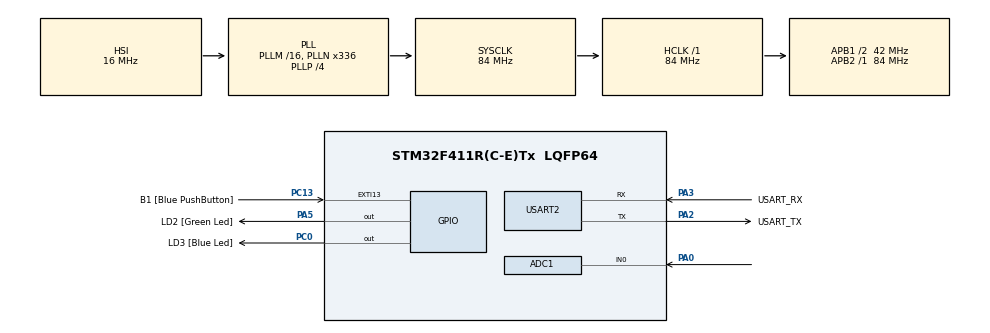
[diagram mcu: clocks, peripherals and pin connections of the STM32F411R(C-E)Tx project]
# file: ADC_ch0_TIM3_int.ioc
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ADC1.Channel-0\#ChannelRegularConversion=ADC_CHANNEL_0
ADC1.ClockPrescaler=ADC_CLOCK_SYNC_PCLK_DIV4
ADC1.ContinuousConvMode=DISABLE
ADC1.DMAContinuousRequests=DISABLE
ADC1.DataAlign=ADC_DATAALIGN_RIGHT
ADC1.DiscontinuousConvMode=DISABLE
ADC1.EOCSelection=ADC_EOC_SINGLE_CONV
ADC1.EnableAnalogWatchDog=false
ADC1.ExternalTrigConv=ADC_EXTERNALTRIGCONV_T3_TRGO
ADC1.ExternalTrigConvEdge=ADC_EXTERNALTRIGCONVEDGE_RISING
ADC1.InjNumberOfConversion=0
ADC1.NbrOfConversion=1
ADC1.NbrOfConversionFlag=1
ADC1.Rank-0\#ChannelRegularConversion=1
ADC1.Resolution=ADC_RESOLUTION_12B
ADC1.SamplingTime-0\#ChannelRegularConversion=ADC_SAMPLETIME_3CYCLES
ADC1.ScanConvMode=DISABLE
ADC1.master=1
Mcu.Family=STM32F4
Mcu.Name=STM32F411R(C-E)Tx
Mcu.Package=LQFP64
NVIC.ADC_IRQn=true\:0\:0\:false\:false\:true
NVIC.PriorityGroup=NVIC_PRIORITYGROUP_0
NVIC.TIM1_UP_TIM10_IRQn=true\:0\:0\:false\:false\:true
PA0-WKUP.Signal=ADCx_IN0
PA13.GPIO_Label=TMS
PA13.Signal=SYS_JTMS-SWDIO
PA14.GPIO_Label=TCK
PA14.Signal=SYS_JTCK-SWCLK
PA2.GPIO_Label=USART_TX
PA2.Mode=Asynchronous
PA2.Signal=USART2_TX
PA3.GPIO_Label=USART_RX
PA3.Mode=Asynchronous
PA3.Signal=USART2_RX
PA5.GPIO_Label=LD2 [Green Led]
PA5.Signal=GPIO_Output
PB3.GPIO_Label=SWO
PB3.Signal=SYS_JTDO-SWO
PC0.GPIO_Label=LD3 [Blue Led]
PC0.Signal=GPIO_Output
PC13-ANTI_TAMP.GPIO_Label=B1 [Blue PushButton]
PC13-ANTI_TAMP.GPIO_ModeDefaultEXTI=GPIO_MODE_EVT_FALLING
PC13-ANTI_TAMP.GPIO_PuPd=GPIO_PULLDOWN
PC13-ANTI_TAMP.Signal=GPXTI13
PC14-OSC32_IN.Signal=RCC_OSC32_IN
PC15-OSC32_OUT.Signal=RCC_OSC32_OUT
PH0\ -\ OSC_IN.Signal=RCC_OSC_IN
PH1\ -\ OSC_OUT.Signal=RCC_OSC_OUT
ProjectManager.HeapSize=0x200
ProjectManager.StackSize=0x400
ProjectManager.TargetToolchain=SW4STM32
RCC.48MHZClocksFreq_Value=84000000
RCC.AHBFreq_Value=84000000
RCC.APB1CLKDivider=RCC_HCLK_DIV2
RCC.APB1Freq_Value=42000000
RCC.APB1TimFreq_Value=84000000
RCC.APB2Freq_Value=84000000
RCC.APB2TimFreq_Value=84000000
RCC.CortexFreq_Value=84000000
RCC.FLatency-AdvancedSettings=FLASH_LATENCY_2
RCC.HCLKFreq_Value=84000000
RCC.HSE_VALUE=8000000
RCC.HSI_VALUE=16000000
RCC.LSE_VALUE=32768
RCC.PLLN=336
RCC.PLLP=RCC_PLLP_DIV4
RCC.SYSCLKFreq_VALUE=84000000
RCC.SYSCLKSource=RCC_SYSCLKSOURCE_PLLCLK
RCC.VCOOutputFreq_Value=336000000
SH.ADCx_IN0.0=ADC1_IN0,IN0
TIM10.Period=19
TIM10.Prescaler=8399
VP_TIM10_VS_ClockSourceINT.Mode=Enable_Timer
VP_TIM3_VS_ClockSourceINT.Mode=Internal
board=NUCLEO-F411RE

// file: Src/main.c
/*
  ******************************************************************************
  * File Name          : main.c
  * Description        : Main program body
  ******************************************************************************
  *
  * COPYRIGHT(c) 2017 STMicroelectronics
  *
  * Redistribution and use in source and binary forms, with or without modification,
  * are permitted provided that the following conditions are met:
  *   1. Redistributions of source code must retain the above copyright notice,
  *      this list of conditions and the following disclaimer.
  *   2. Redistributions in binary form must reproduce the above copyright notice,
  *      this list of conditions and the following disclaimer in the documentation
  *      and/or other materials provided with the distribution.
  *   3. Neither the name of STMicroelectronics nor the names of its contributors
  *      may be used to endorse or promote products derived from this software
  *      without specific prior written permission.
  *
  * THIS SOFTWARE IS PROVIDED BY THE COPYRIGHT HOLDERS AND CONTRIBUTORS "AS IS"
  * AND ANY EXPRESS OR IMPLIED WARRANTIES, INCLUDING, BUT NOT LIMITED TO, THE
  * IMPLIED WARRANTIES OF MERCHANTABILITY AND FITNESS FOR A PARTICULAR PURPOSE ARE
  * DISCLAIMED. IN NO EVENT SHALL THE COPYRIGHT HOLDER OR CONTRIBUTORS BE LIABLE
  * FOR ANY DIRECT, INDIRECT, INCIDENTAL, SPECIAL, EXEMPLARY, OR CONSEQUENTIAL
  * DAMAGES (INCLUDING, BUT NOT LIMITED TO, PROCUREMENT OF SUBSTITUTE GOODS OR
  * SERVICES; LOSS OF USE, DATA, OR PROFITS; OR BUSINESS INTERRUPTION) HOWEVER
  * CAUSED AND ON ANY THEORY OF LIABILITY, WHETHER IN CONTRACT, STRICT LIABILITY,
  * OR TORT (INCLUDING NEGLIGENCE OR OTHERWISE) ARISING IN ANY WAY OUT OF THE USE
  * OF THIS SOFTWARE, EVEN IF ADVISED OF THE POSSIBILITY OF SUCH DAMAGE.
  *
  ******************************************************************************
  */

#include "main.h"
#include "stm32f4xx_hal.h"
#include "adc.h"
#include "tim.h"
#include "usart.h"
#include "gpio.h"

/* USER CODE BEGIN Includes */

/**
 * ADC é configurado para ser disparado pelo evento de TIM3
 * TIM3 é configurado para gerar um evento a cada update
 * Interrupcao de TIM3 realiza o debounce do botao
 * TIM10 é configurado para gerar interrupcao periodica
 * Interrupcao aciona o led e dispara envio do valor convertido pela serial

 * @file main.c
 * @author Marcos Zuccolotto
 * @date april, 2017
 * @brief ADC disparado pelo TIM3 e debouce de botao
  */

// Comentarios para doxygen e Graphviz
// O comando abaixo gera o gráfico na pagina principal do documento
// É necessario usar a ferramenta Grapviz para interpretar a linguagem DOT
/*! \mainpage
 ADC disparado pelo evento de update do TIM3 \n
 Debounce de botao usando interrupcao periodica\n
 Configuracao de hardware utilizada :
  \dot
  digraph hardconf  {
      node [shape=box, fontname=Helvetica, fontsize=11];
      a [ label="TIM3" ];
      b [ label="ADC1" ];
      a -> b [label="UE", fontname=Helvetica, fontsize=10];
       {rank=same; a b}
  }
  \enddot

 */

//#define MODO_TESTE 1

//! Tempo de espera pela conversao ad
#define ADC_TIMEOUT 100
//! tempo de espera da serial
#define SERIAL_TIMEOUT 100
//! Tamanho do buffer de transmissao serial
#define MSG_LENGHT 100

// Debouce botao
//! Limite superior para detecção botao pressionado
#define BT_THRESH 10
//! Limite inferior para detecção botao pressionado
#define BT_THRESL 5
//! Valor maximo da variavel de debouce
#define BT_MAX 15
//! Valor minimo da variavel de debouce
#define BT_MIN 0

/* USER CODE END Includes */

/* USER CODE BEGIN PV */
/* Private variables ---------------------------------------------------------*/
//! Buffer transmissao serial
int8_t msg[MSG_LENGHT];
//! Valor de conversao AD
int32_t adcvalue;

//! Flag de conversao completa
volatile uint8_t adDone=0;
//! Hora de transmitir
volatile uint8_t serialGo=0;
//! Hora de piscar
volatile uint8_t pisca=0;

// Debounce botao

//! variavel de debounce do botao1
static int8_t dbt1=BT_MIN;
//! estado botao 1
static uint8_t bt1,
//! valor anterior do botao 1
		bt1old,
//! borda botao 1
		bt1up;
//! auxiliar valor botao entrada
GPIO_PinState btaux;

/* USER CODE END PV */

void SystemClock_Config(void);
void Error_Handler(void);

/* USER CODE BEGIN PFP */
/* Private function prototypes -----------------------------------------------*/

/* USER CODE END PFP */

int main(void)
{

  /* MCU Configuration----------------------------------------------------------*/

  /* Reset of all peripherals, Initializes the Flash interface and the Systick. */
  HAL_Init();

  /* Configure the system clock */
  SystemClock_Config();

  /* Initialize all configured peripherals */
  MX_GPIO_Init();
  MX_ADC1_Init();
  MX_TIM3_Init();
  MX_USART2_UART_Init();
  MX_TIM10_Init();

  /* USER CODE BEGIN 2 */
  // Inicializa variaveis globais
   dbt1 = BT_MIN;
  bt1=bt1old=bt1up=0;
// Dispara perifericos
  HAL_TIM_Base_Start_IT(&htim3);
  HAL_TIM_Base_Start_IT(&htim10);
  HAL_ADC_Start_IT(&hadc1);

// envia cabeçalho tela
   sprintf(msg,"\aFundacao Liberato - EleTROnica\r\nprof. Marcos Zuccolotto\r\nADC com disparo pelo TIM3 \n\r");
   HAL_UART_Transmit(&huart2, msg, strlen(msg),SERIAL_TIMEOUT);

  /* USER CODE END 2 */

  /* Infinite loop */
  while (1)
  {

  /* USER CODE BEGIN 3 */
	  // Se é hora, envia mensagem pela serial
	  if (serialGo)
		  	  {
		  		  serialGo=0;
		  		   sprintf(msg,"Valor ADC : %04ld \r",adcvalue);
		  		   HAL_UART_Transmit(&huart2, msg, strlen(msg),SERIAL_TIMEOUT);
			  }
	  // Se botao foi pressionado muda estado controle pisca
	  if (bt1up)
	  {
		  bt1up=0;
		  pisca=!pisca;
	  }
// Esta parte foi feita em aula, transmite valor convertido logo apos conversao
//	  if (adDone==1)
//	  {
//		  adDone=0;
//		   sprintf(msg,"Valor ADC : %d \n\r",adcvalue);
//		   HAL_UART_Transmit(&huart2, msg, strlen(msg),SERIAL_TIMEOUT);
//	  }
  }
  /* USER CODE END 3 */

}

/** System Clock Configuration
*/
void SystemClock_Config(void)
{

  RCC_OscInitTypeDef RCC_OscInitStruct;
  RCC_ClkInitTypeDef RCC_ClkInitStruct;

    /**Configure the main internal regulator output voltage
    */
  __HAL_RCC_PWR_CLK_ENABLE();

  __HAL_PWR_VOLTAGESCALING_CONFIG(PWR_REGULATOR_VOLTAGE_SCALE1);

    /**Initializes the CPU, AHB and APB busses clocks
    */
  RCC_OscInitStruct.OscillatorType = RCC_OSCILLATORTYPE_HSI;
  RCC_OscInitStruct.HSIState = RCC_HSI_ON;
  RCC_OscInitStruct.HSICalibrationValue = 16;
  RCC_OscInitStruct.PLL.PLLState = RCC_PLL_ON;
  RCC_OscInitStruct.PLL.PLLSource = RCC_PLLSOURCE_HSI;
  RCC_OscInitStruct.PLL.PLLM = 16;
  RCC_OscInitStruct.PLL.PLLN = 336;
  RCC_OscInitStruct.PLL.PLLP = RCC_PLLP_DIV4;
  RCC_OscInitStruct.PLL.PLLQ = 4;
  if (HAL_RCC_OscConfig(&RCC_OscInitStruct) != HAL_OK)
  {
    Error_Handler();
  }

    /**Initializes the CPU, AHB and APB busses clocks
    */
  RCC_ClkInitStruct.ClockType = RCC_CLOCKTYPE_HCLK|RCC_CLOCKTYPE_SYSCLK
                              |RCC_CLOCKTYPE_PCLK1|RCC_CLOCKTYPE_PCLK2;
  RCC_ClkInitStruct.SYSCLKSource = RCC_SYSCLKSOURCE_PLLCLK;
  RCC_ClkInitStruct.AHBCLKDivider = RCC_SYSCLK_DIV1;
  RCC_ClkInitStruct.APB1CLKDivider = RCC_HCLK_DIV2;
  RCC_ClkInitStruct.APB2CLKDivider = RCC_HCLK_DIV1;

  if (HAL_RCC_ClockConfig(&RCC_ClkInitStruct, FLASH_LATENCY_2) != HAL_OK)
  {
    Error_Handler();
  }

    /**Configure the Systick interrupt time
    */
  HAL_SYSTICK_Config(HAL_RCC_GetHCLKFreq()/1000);

    /**Configure the Systick
    */
  HAL_SYSTICK_CLKSourceConfig(SYSTICK_CLKSOURCE_HCLK);

  /* SysTick_IRQn interrupt configuration */
  HAL_NVIC_SetPriority(SysTick_IRQn, 0, 0);
}

/* USER CODE BEGIN 4 */
/**
 * @brief Interrupcao periodica TIM3 (debounce botao) e TIM10 (PiscaLed)
 * @param Handler timer
 * @retval nenhum
 *
 *
 */
void HAL_TIM_PeriodElapsedCallback(TIM_HandleTypeDef *htim)
{
	if (htim->Instance==TIM3)
		{
		// Rotina de "debouce" do botao 1
		// Le botao e atualiza variavel de debouce
		btaux=HAL_GPIO_ReadPin(B1_GPIO_Port,B1_Pin);
		if (btaux==GPIO_PIN_RESET)
			{dbt1++;}
		else
			{dbt1--;}
		// colocando limites no tempo
		if (dbt1>BT_MAX)
				{dbt1=BT_MAX;}
		if (dbt1<BT_MIN)
				{dbt1=BT_MIN;}
		// definindo estado do botao
		if (dbt1>BT_THRESH)
				{bt1=1;}
		if (dbt1<BT_THRESL)
				{bt1=0;}
		// Detetando bordas
		if ((bt1old==0) && (bt1==1))
				{bt1up=1;}
		// atualizando
		bt1old=bt1;
		}
	if (htim->Instance==TIM10)
		{
		// Pisca led
			if (pisca)
				HAL_GPIO_TogglePin(LD2_GPIO_Port, LD2_Pin);
		// manda valor ADC pela serial
			serialGo=1;
		}
	}

/**
 * @brief Interrupcao conversao AD completa
 * @param Handler adc gerou interrupcao
 * @retval nenhum
 */
void HAL_ADC_ConvCpltCallback(ADC_HandleTypeDef* hadc)
{
#ifdef MODO_TESTE  // compilacao condicional para ser utilizada durante teste do codigo
	HAL_GPIO_TogglePin(LD3_GPIO_Port, LD3_Pin);
#endif
	adcvalue=HAL_ADC_GetValue(hadc);
	adDone=1;

}
/* USER CODE END 4 */

void Error_Handler(void)
{
  while(1)
  {
  }
}

/************************ (C) COPYRIGHT STMicroelectronics *****END OF FILE****/
